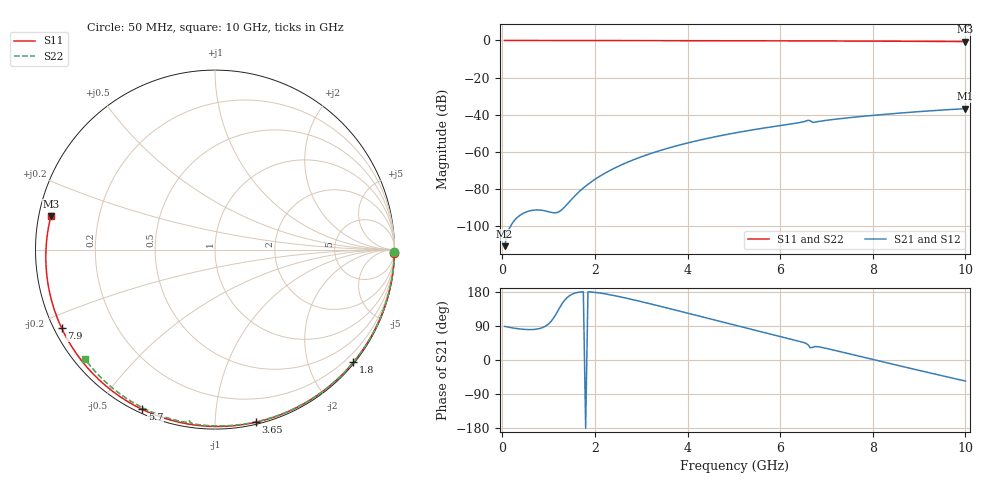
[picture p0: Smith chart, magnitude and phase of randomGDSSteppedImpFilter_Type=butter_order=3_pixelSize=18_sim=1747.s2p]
! freq	dB(S11)	phase(S11)	dB(S12)	phase(S12)
!  dB(S21)	phase(S21)	dB(S22)	phase(S22)
!S-par simulation data
#  GHz  S  DB  R 50
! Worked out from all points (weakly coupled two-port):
!   200 points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, 50 MHz to 10 GHz, reference 50 ohm
!   highest |S21| = -36.73 dB at 10 GHz (marker M1); lowest = -110.8 dB at 50 MHz (marker M2)
!   lowest |S11| = -0.6 dB at 10 GHz (marker M3), VSWR 28.88, Z = 1.75 + j5.05 ohm
!   |S11| at or under -10 dB: nowhere
!   |S22| runs from -0.5 to 0.0 dB; largest |S21 - S12| = 0
!   S11 on the Smith chart (normalised r, x): 50 MHz: open; 1.8 GHz: 0.03, -2.81; 3.65 GHz: 0.02, -1.27; 5.7 GHz: 0.02, -0.64; 7.9 GHz: 0.02, -0.24; 10 GHz: 0.03, +0.10
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0.05  -0.00 -1.1  -110.82 88.7  -110.82 88.7  -0.00 -0.8
0.85  -0.02 -18.7  -91.46 84.6  -91.46 84.6  -0.02 -13.8
1.7  -0.05 -37.0  -80.55 179.6  -80.55 179.6  -0.03 -27.3
1.75  -0.05 -38.1  -79.48 180.0  -79.48 180.0  -0.04 -28.0
1.8  -0.05 -39.1  -78.45 -179.9  -78.45 -179.9  -0.04 -28.8
2.1  -0.06 -45.4  -73.22 176.9  -73.22 176.9  -0.04 -33.5
2.45  -0.07 -52.7  -68.45 169.2  -68.45 169.2  -0.05 -38.9
2.9  -0.08 -61.8  -63.63 156.9  -63.63 156.9  -0.06 -45.8
3.4  -0.09 -71.8  -59.36 142.1  -59.36 142.1  -0.07 -53.3
3.65  -0.10 -76.6  -57.53 134.5  -57.53 134.5  -0.08 -57.0
4.35  -0.13 -90.0  -53.19 112.8  -53.19 112.8  -0.10 -67.1
5.05  -0.16 -102.9  -49.69 91.0  -49.69 91.0  -0.12 -77.0
5.7  -0.19 -114.5  -46.98 70.9  -46.98 70.9  -0.14 -85.9
6.4  -0.23 -126.8  -44.32 49.6  -44.32 49.6  -0.18 -95.3
6.6  -0.25 -130.3  -43.01 40.5  -43.01 40.5  -0.24 -98.2
6.65  -0.25 -131.2  -43.22 32.2  -43.22 32.2  -0.32 -98.5
6.7  -0.25 -132.1  -44.15 33.5  -44.15 33.5  -0.26 -98.7
7.15  -0.29 -139.9  -42.55 26.3  -42.55 26.3  -0.22 -104.8
7.9  -0.36 -152.9  -40.60 4.4  -40.60 4.4  -0.27 -114.3
8.35  -0.40 -160.9  -39.60 -8.7  -39.60 -8.7  -0.31 -119.9
9.2  -0.50 -176.3  -37.98 -33.1  -37.98 -33.1  -0.39 -130.3
10  -0.60 168.5  -36.73 -55.6  -36.73 -55.6  -0.48 -140.1
